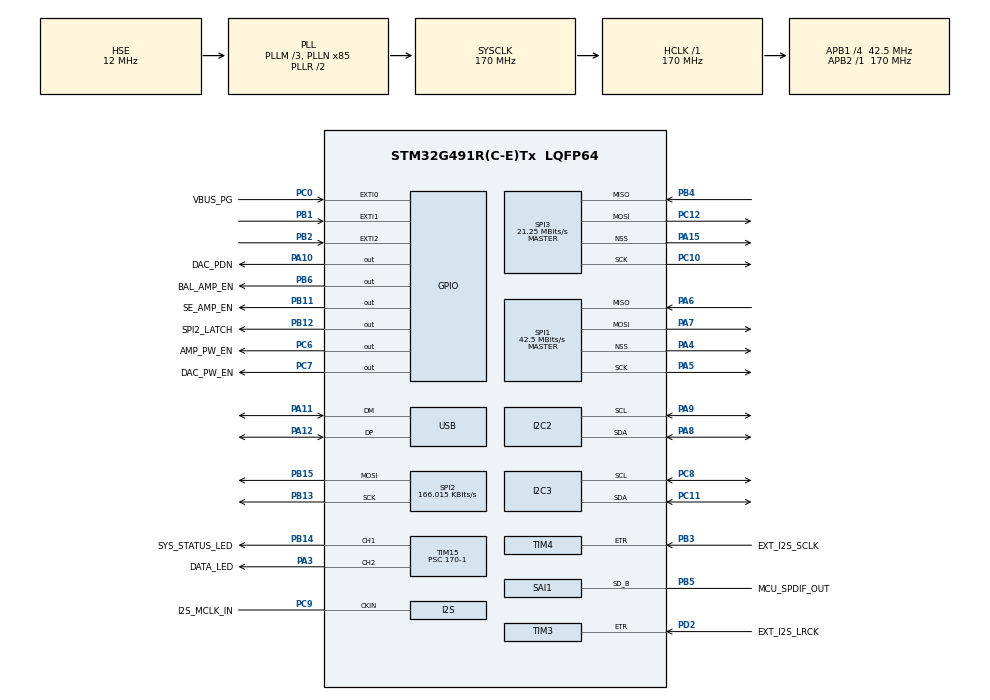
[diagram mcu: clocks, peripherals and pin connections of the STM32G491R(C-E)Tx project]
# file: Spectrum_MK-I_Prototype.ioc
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ADC1.Channel-2\#ChannelRegularConversion=ADC_CHANNEL_TEMPSENSOR_ADC1
ADC1.NbrOfConversionFlag=1
ADC1.OffsetNumber-2\#ChannelRegularConversion=ADC_OFFSET_NONE
ADC1.Rank-2\#ChannelRegularConversion=1
ADC1.SamplingTime-2\#ChannelRegularConversion=ADC_SAMPLETIME_2CYCLES_5
ADC1.master=1
Dma.CORDIC_READ.4.Direction=DMA_PERIPH_TO_MEMORY
Dma.CORDIC_READ.4.EventEnable=DISABLE
Dma.CORDIC_READ.4.Instance=DMA1_Channel3
Dma.CORDIC_READ.4.MemDataAlignment=DMA_MDATAALIGN_WORD
Dma.CORDIC_READ.4.MemInc=DMA_MINC_ENABLE
Dma.CORDIC_READ.4.Mode=DMA_NORMAL
Dma.CORDIC_READ.4.PeriphDataAlignment=DMA_PDATAALIGN_WORD
Dma.CORDIC_READ.4.PeriphInc=DMA_PINC_DISABLE
Dma.CORDIC_READ.4.Polarity=HAL_DMAMUX_REQ_GEN_RISING
Dma.CORDIC_READ.4.Priority=DMA_PRIORITY_LOW
Dma.CORDIC_READ.4.RequestNumber=1
Dma.CORDIC_READ.4.SignalID=NONE
Dma.CORDIC_READ.4.SyncEnable=DISABLE
Dma.CORDIC_READ.4.SyncPolarity=HAL_DMAMUX_SYNC_NO_EVENT
Dma.CORDIC_READ.4.SyncRequestNumber=1
Dma.CORDIC_READ.4.SyncSignalID=NONE
Dma.CORDIC_WRITE.5.Direction=DMA_MEMORY_TO_PERIPH
Dma.CORDIC_WRITE.5.EventEnable=DISABLE
Dma.CORDIC_WRITE.5.Instance=DMA1_Channel4
Dma.CORDIC_WRITE.5.MemDataAlignment=DMA_MDATAALIGN_WORD
Dma.CORDIC_WRITE.5.MemInc=DMA_MINC_ENABLE
Dma.CORDIC_WRITE.5.Mode=DMA_NORMAL
Dma.CORDIC_WRITE.5.PeriphDataAlignment=DMA_PDATAALIGN_WORD
Dma.CORDIC_WRITE.5.PeriphInc=DMA_PINC_DISABLE
Dma.CORDIC_WRITE.5.Polarity=HAL_DMAMUX_REQ_GEN_RISING
Dma.CORDIC_WRITE.5.Priority=DMA_PRIORITY_LOW
Dma.CORDIC_WRITE.5.RequestNumber=1
Dma.CORDIC_WRITE.5.SignalID=NONE
Dma.CORDIC_WRITE.5.SyncEnable=DISABLE
Dma.CORDIC_WRITE.5.SyncPolarity=HAL_DMAMUX_SYNC_NO_EVENT
Dma.CORDIC_WRITE.5.SyncRequestNumber=1
Dma.CORDIC_WRITE.5.SyncSignalID=NONE
Dma.FMAC_READ.6.Direction=DMA_PERIPH_TO_MEMORY
Dma.FMAC_READ.6.EventEnable=DISABLE
Dma.FMAC_READ.6.Instance=DMA1_Channel7
Dma.FMAC_READ.6.MemDataAlignment=DMA_MDATAALIGN_HALFWORD
Dma.FMAC_READ.6.MemInc=DMA_MINC_ENABLE
Dma.FMAC_READ.6.Mode=DMA_NORMAL
Dma.FMAC_READ.6.PeriphDataAlignment=DMA_PDATAALIGN_WORD
Dma.FMAC_READ.6.PeriphInc=DMA_PINC_DISABLE
Dma.FMAC_READ.6.Polarity=HAL_DMAMUX_REQ_GEN_RISING
Dma.FMAC_READ.6.Priority=DMA_PRIORITY_LOW
Dma.FMAC_READ.6.RequestNumber=1
Dma.FMAC_READ.6.SignalID=NONE
Dma.FMAC_READ.6.SyncEnable=DISABLE
Dma.FMAC_READ.6.SyncPolarity=HAL_DMAMUX_SYNC_NO_EVENT
Dma.FMAC_READ.6.SyncRequestNumber=1
Dma.FMAC_READ.6.SyncSignalID=NONE
Dma.FMAC_WRITE.7.Direction=DMA_MEMORY_TO_PERIPH
Dma.FMAC_WRITE.7.EventEnable=DISABLE
Dma.FMAC_WRITE.7.Instance=DMA1_Channel8
Dma.FMAC_WRITE.7.MemDataAlignment=DMA_MDATAALIGN_HALFWORD
Dma.FMAC_WRITE.7.MemInc=DMA_MINC_ENABLE
Dma.FMAC_WRITE.7.Mode=DMA_NORMAL
Dma.FMAC_WRITE.7.PeriphDataAlignment=DMA_PDATAALIGN_WORD
Dma.FMAC_WRITE.7.PeriphInc=DMA_PINC_DISABLE
Dma.FMAC_WRITE.7.Polarity=HAL_DMAMUX_REQ_GEN_RISING
Dma.FMAC_WRITE.7.Priority=DMA_PRIORITY_LOW
Dma.FMAC_WRITE.7.RequestNumber=1
Dma.FMAC_WRITE.7.SignalID=NONE
Dma.FMAC_WRITE.7.SyncEnable=DISABLE
Dma.FMAC_WRITE.7.SyncPolarity=HAL_DMAMUX_SYNC_NO_EVENT
Dma.FMAC_WRITE.7.SyncRequestNumber=1
Dma.FMAC_WRITE.7.SyncSignalID=NONE
Dma.I2C2_RX.9.Direction=DMA_PERIPH_TO_MEMORY
Dma.I2C2_RX.9.EventEnable=DISABLE
Dma.I2C2_RX.9.Instance=DMA1_Channel5
Dma.I2C2_RX.9.MemDataAlignment=DMA_MDATAALIGN_BYTE
Dma.I2C2_RX.9.MemInc=DMA_MINC_ENABLE
Dma.I2C2_RX.9.Mode=DMA_NORMAL
Dma.I2C2_RX.9.PeriphDataAlignment=DMA_PDATAALIGN_BYTE
Dma.I2C2_RX.9.PeriphInc=DMA_PINC_DISABLE
Dma.I2C2_RX.9.Polarity=HAL_DMAMUX_REQ_GEN_RISING
Dma.I2C2_RX.9.Priority=DMA_PRIORITY_LOW
Dma.I2C2_RX.9.RequestNumber=1
Dma.I2C2_RX.9.SignalID=NONE
Dma.I2C2_RX.9.SyncEnable=DISABLE
Dma.I2C2_RX.9.SyncPolarity=HAL_DMAMUX_SYNC_NO_EVENT
Dma.I2C2_RX.9.SyncRequestNumber=1
Dma.I2C2_RX.9.SyncSignalID=NONE
Dma.I2C2_TX.10.Direction=DMA_MEMORY_TO_PERIPH
Dma.I2C2_TX.10.EventEnable=DISABLE
Dma.I2C2_TX.10.Instance=DMA1_Channel6
Dma.I2C2_TX.10.MemDataAlignment=DMA_MDATAALIGN_BYTE
Dma.I2C2_TX.10.MemInc=DMA_MINC_ENABLE
Dma.I2C2_TX.10.Mode=DMA_NORMAL
Dma.I2C2_TX.10.PeriphDataAlignment=DMA_PDATAALIGN_BYTE
Dma.I2C2_TX.10.PeriphInc=DMA_PINC_DISABLE
Dma.I2C2_TX.10.Polarity=HAL_DMAMUX_REQ_GEN_RISING
Dma.I2C2_TX.10.Priority=DMA_PRIORITY_LOW
Dma.I2C2_TX.10.RequestNumber=1
Dma.I2C2_TX.10.SignalID=NONE
Dma.I2C2_TX.10.SyncEnable=DISABLE
Dma.I2C2_TX.10.SyncPolarity=HAL_DMAMUX_SYNC_NO_EVENT
Dma.I2C2_TX.10.SyncRequestNumber=1
Dma.I2C2_TX.10.SyncSignalID=NONE
Dma.Request0=SPI1_TX
Dma.Request1=SPI1_RX
Dma.Request10=I2C2_TX
Dma.Request11=SPI2_TX
Dma.Request2=SPI3_RX
Dma.Request3=SPI3_TX
Dma.Request4=CORDIC_READ
Dma.Request5=CORDIC_WRITE
Dma.Request6=FMAC_READ
Dma.Request7=FMAC_WRITE
Dma.Request8=SAI1_B
Dma.Request9=I2C2_RX
Dma.SAI1_B.8.Direction=DMA_MEMORY_TO_PERIPH
Dma.SAI1_B.8.EventEnable=DISABLE
Dma.SAI1_B.8.Instance=DMA2_Channel1
Dma.SAI1_B.8.MemDataAlignment=DMA_MDATAALIGN_WORD
Dma.SAI1_B.8.MemInc=DMA_MINC_ENABLE
Dma.SAI1_B.8.Mode=DMA_NORMAL
Dma.SAI1_B.8.PeriphDataAlignment=DMA_PDATAALIGN_WORD
Dma.SAI1_B.8.PeriphInc=DMA_PINC_DISABLE
Dma.SAI1_B.8.Polarity=HAL_DMAMUX_REQ_GEN_RISING
Dma.SAI1_B.8.Priority=DMA_PRIORITY_LOW
Dma.SAI1_B.8.RequestNumber=1
Dma.SAI1_B.8.SignalID=NONE
Dma.SAI1_B.8.SyncEnable=DISABLE
Dma.SAI1_B.8.SyncPolarity=HAL_DMAMUX_SYNC_NO_EVENT
Dma.SAI1_B.8.SyncRequestNumber=1
Dma.SAI1_B.8.SyncSignalID=NONE
Dma.SPI1_RX.1.Direction=DMA_PERIPH_TO_MEMORY
Dma.SPI1_RX.1.EventEnable=DISABLE
Dma.SPI1_RX.1.Instance=DMA1_Channel2
Dma.SPI1_RX.1.MemDataAlignment=DMA_MDATAALIGN_BYTE
Dma.SPI1_RX.1.MemInc=DMA_MINC_ENABLE
Dma.SPI1_RX.1.Mode=DMA_NORMAL
Dma.SPI1_RX.1.PeriphDataAlignment=DMA_PDATAALIGN_BYTE
Dma.SPI1_RX.1.PeriphInc=DMA_PINC_DISABLE
Dma.SPI1_RX.1.Polarity=HAL_DMAMUX_REQ_GEN_RISING
Dma.SPI1_RX.1.Priority=DMA_PRIORITY_LOW
Dma.SPI1_RX.1.RequestNumber=1
Dma.SPI1_RX.1.SignalID=NONE
Dma.SPI1_RX.1.SyncEnable=DISABLE
Dma.SPI1_RX.1.SyncPolarity=HAL_DMAMUX_SYNC_NO_EVENT
Dma.SPI1_RX.1.SyncRequestNumber=1
Dma.SPI1_RX.1.SyncSignalID=NONE
Dma.SPI1_TX.0.Direction=DMA_MEMORY_TO_PERIPH
Dma.SPI1_TX.0.EventEnable=DISABLE
Dma.SPI1_TX.0.Instance=DMA1_Channel1
Dma.SPI1_TX.0.MemDataAlignment=DMA_MDATAALIGN_BYTE
Dma.SPI1_TX.0.MemInc=DMA_MINC_ENABLE
Dma.SPI1_TX.0.Mode=DMA_NORMAL
Dma.SPI1_TX.0.PeriphDataAlignment=DMA_PDATAALIGN_BYTE
Dma.SPI1_TX.0.PeriphInc=DMA_PINC_DISABLE
Dma.SPI1_TX.0.Polarity=HAL_DMAMUX_REQ_GEN_RISING
Dma.SPI1_TX.0.Priority=DMA_PRIORITY_LOW
Dma.SPI1_TX.0.RequestNumber=1
Dma.SPI1_TX.0.SignalID=NONE
Dma.SPI1_TX.0.SyncEnable=DISABLE
Dma.SPI1_TX.0.SyncPolarity=HAL_DMAMUX_SYNC_NO_EVENT
Dma.SPI1_TX.0.SyncRequestNumber=1
Dma.SPI1_TX.0.SyncSignalID=NONE
Dma.SPI2_TX.11.Direction=DMA_MEMORY_TO_PERIPH
Dma.SPI2_TX.11.EventEnable=DISABLE
Dma.SPI2_TX.11.Instance=DMA2_Channel2
Dma.SPI2_TX.11.MemDataAlignment=DMA_MDATAALIGN_BYTE
Dma.SPI2_TX.11.MemInc=DMA_MINC_ENABLE
Dma.SPI2_TX.11.Mode=DMA_NORMAL
Dma.SPI2_TX.11.PeriphDataAlignment=DMA_PDATAALIGN_BYTE
Dma.SPI2_TX.11.PeriphInc=DMA_PINC_DISABLE
Dma.SPI2_TX.11.Polarity=HAL_DMAMUX_REQ_GEN_RISING
Dma.SPI2_TX.11.Priority=DMA_PRIORITY_LOW
Dma.SPI2_TX.11.RequestNumber=1
Dma.SPI2_TX.11.SignalID=NONE
Dma.SPI2_TX.11.SyncEnable=DISABLE
Dma.SPI2_TX.11.SyncPolarity=HAL_DMAMUX_SYNC_NO_EVENT
Dma.SPI2_TX.11.SyncRequestNumber=1
Dma.SPI2_TX.11.SyncSignalID=NONE
Dma.SPI3_RX.2.Direction=DMA_PERIPH_TO_MEMORY
Dma.SPI3_RX.2.EventEnable=DISABLE
Dma.SPI3_RX.2.Instance=DMA2_Channel4
Dma.SPI3_RX.2.MemDataAlignment=DMA_MDATAALIGN_BYTE
Dma.SPI3_RX.2.MemInc=DMA_MINC_ENABLE
Dma.SPI3_RX.2.Mode=DMA_NORMAL
Dma.SPI3_RX.2.PeriphDataAlignment=DMA_PDATAALIGN_BYTE
Dma.SPI3_RX.2.PeriphInc=DMA_PINC_DISABLE
Dma.SPI3_RX.2.Polarity=HAL_DMAMUX_REQ_GEN_RISING
Dma.SPI3_RX.2.Priority=DMA_PRIORITY_LOW
Dma.SPI3_RX.2.RequestNumber=1
Dma.SPI3_RX.2.SignalID=NONE
Dma.SPI3_RX.2.SyncEnable=DISABLE
Dma.SPI3_RX.2.SyncPolarity=HAL_DMAMUX_SYNC_NO_EVENT
Dma.SPI3_RX.2.SyncRequestNumber=1
Dma.SPI3_RX.2.SyncSignalID=NONE
Dma.SPI3_TX.3.Direction=DMA_MEMORY_TO_PERIPH
Dma.SPI3_TX.3.EventEnable=DISABLE
Dma.SPI3_TX.3.Instance=DMA2_Channel3
Dma.SPI3_TX.3.MemDataAlignment=DMA_MDATAALIGN_BYTE
Dma.SPI3_TX.3.MemInc=DMA_MINC_ENABLE
Dma.SPI3_TX.3.Mode=DMA_NORMAL
Dma.SPI3_TX.3.PeriphDataAlignment=DMA_PDATAALIGN_BYTE
Dma.SPI3_TX.3.PeriphInc=DMA_PINC_DISABLE
Dma.SPI3_TX.3.Polarity=HAL_DMAMUX_REQ_GEN_RISING
Dma.SPI3_TX.3.Priority=DMA_PRIORITY_LOW
Dma.SPI3_TX.3.RequestNumber=1
Dma.SPI3_TX.3.SignalID=NONE
Dma.SPI3_TX.3.SyncEnable=DISABLE
Dma.SPI3_TX.3.SyncPolarity=HAL_DMAMUX_SYNC_NO_EVENT
Dma.SPI3_TX.3.SyncRequestNumber=1
Dma.SPI3_TX.3.SyncSignalID=NONE
I2C2.I2C_Fall_Time=10
I2C2.Speed=100
I2C2.Timing=0x00E0A5F5
I2C3.Timing=0x00E0B1E5
Mcu.Family=STM32G4
Mcu.Name=STM32G491R(C-E)Tx
Mcu.Package=LQFP64
NVIC.ADC1_2_IRQn=true\:0\:0\:false\:false\:true\:true\:true\:true
NVIC.DMA1_Channel1_IRQn=true\:0\:0\:false\:false\:true\:false\:true\:true
NVIC.DMA1_Channel2_IRQn=true\:0\:0\:false\:false\:true\:false\:true\:true
NVIC.DMA1_Channel3_IRQn=true\:0\:0\:false\:false\:true\:false\:true\:true
NVIC.DMA1_Channel4_IRQn=true\:0\:0\:false\:false\:true\:false\:true\:true
NVIC.DMA1_Channel5_IRQn=true\:0\:0\:false\:false\:true\:false\:true\:true
NVIC.DMA1_Channel6_IRQn=true\:0\:0\:false\:false\:true\:false\:true\:true
NVIC.DMA1_Channel7_IRQn=true\:0\:0\:false\:false\:true\:false\:true\:true
NVIC.DMA1_Channel8_IRQn=true\:0\:0\:false\:false\:true\:false\:true\:true
NVIC.DMA2_Channel1_IRQn=true\:0\:0\:false\:false\:true\:false\:true\:true
NVIC.DMA2_Channel2_IRQn=true\:0\:0\:false\:false\:true\:false\:true\:true
NVIC.DMA2_Channel3_IRQn=true\:0\:0\:false\:false\:true\:false\:true\:true
NVIC.DMA2_Channel4_IRQn=true\:0\:0\:false\:false\:true\:false\:true\:true
NVIC.EXTI0_IRQn=true\:0\:0\:false\:false\:true\:true\:true\:true
NVIC.EXTI1_IRQn=true\:0\:0\:false\:false\:true\:true\:true\:true
NVIC.EXTI2_IRQn=true\:0\:0\:false\:false\:true\:true\:true\:true
NVIC.PriorityGroup=NVIC_PRIORITYGROUP_4
NVIC.SPI1_IRQn=true\:0\:0\:false\:false\:true\:true\:true\:true
NVIC.SPI2_IRQn=true\:0\:0\:false\:false\:true\:true\:true\:true
NVIC.SPI3_IRQn=true\:0\:0\:false\:false\:true\:true\:true\:true
NVIC.TIM1_BRK_TIM15_IRQn=true\:0\:0\:false\:false\:true\:true\:true\:true
NVIC.USB_HP_IRQn=true\:0\:0\:false\:false\:true\:true\:true\:true
NVIC.USB_LP_IRQn=true\:0\:0\:false\:false\:true\:true\:true\:true
PA10.GPIO_Label=DAC_PDN
PA10.GPIO_PuPd=GPIO_PULLDOWN
PA10.Signal=GPIO_Output
PA11.Mode=Device
PA11.Signal=USB_DM
PA12.Mode=Device
PA12.Signal=USB_DP
PA13.Mode=Serial_Wire
PA13.Signal=SYS_JTMS-SWDIO
PA14.Mode=Serial_Wire
PA14.Signal=SYS_JTCK-SWCLK
PA15.GPIO_Speed=GPIO_SPEED_FREQ_VERY_HIGH
PA15.Mode=NSS_Signal_Hard_Output
PA15.Signal=SPI3_NSS
PA3.GPIO_Label=DATA_LED
PA3.Signal=S_TIM15_CH2
PA4.GPIO_Speed=GPIO_SPEED_FREQ_VERY_HIGH
PA4.Mode=NSS_Signal_Hard_Output
PA4.Signal=SPI1_NSS
PA5.GPIO_Speed=GPIO_SPEED_FREQ_VERY_HIGH
PA5.Mode=Full_Duplex_Master
PA5.Signal=SPI1_SCK
PA6.GPIO_Speed=GPIO_SPEED_FREQ_VERY_HIGH
PA6.Mode=Full_Duplex_Master
PA6.Signal=SPI1_MISO
PA7.GPIO_Speed=GPIO_SPEED_FREQ_VERY_HIGH
PA7.Mode=Full_Duplex_Master
PA7.Signal=SPI1_MOSI
PA8.GPIO_Pu=GPIO_PULLUP
PA8.GPIO_Speed=GPIO_SPEED_FREQ_VERY_HIGH
PA8.Mode=I2C
PA8.Signal=I2C2_SDA
PA9.GPIO_Pu=GPIO_PULLUP
PA9.GPIO_Speed=GPIO_SPEED_FREQ_VERY_HIGH
PA9.Mode=I2C
PA9.Signal=I2C2_SCL
PB1.Signal=GPXTI1
PB11.GPIO_Label=SE_AMP_EN
PB11.GPIO_PuPd=GPIO_PULLDOWN
PB11.GPIO_Speed=GPIO_SPEED_FREQ_VERY_HIGH
PB11.Signal=GPIO_Output
PB12.GPIO_Label=SPI2_LATCH
PB12.GPIO_PuPd=GPIO_PULLUP
PB12.GPIO_Speed=GPIO_SPEED_FREQ_VERY_HIGH
PB12.Signal=GPIO_Output
PB13.GPIO_PuPd=GPIO_PULLUP
PB13.GPIO_Speed=GPIO_SPEED_FREQ_VERY_HIGH
PB13.Mode=TX_Only_Simplex_Unidirect_Master
PB13.Signal=SPI2_SCK
PB14.GPIO_Label=SYS_STATUS_LED
PB14.Signal=S_TIM15_CH1
PB15.GPIO_Speed=GPIO_SPEED_FREQ_VERY_HIGH
PB15.Mode=TX_Only_Simplex_Unidirect_Master
PB15.Signal=SPI2_MOSI
PB2.GPIO_ModeDefaultEXTI=GPIO_MODE_IT_RISING_FALLING
PB2.Signal=GPXTI2
PB3.GPIO_Label=EXT_I2S_SCLK
PB3.Signal=S_TIM4_ETR
PB4.GPIO_Speed=GPIO_SPEED_FREQ_VERY_HIGH
PB4.Mode=Full_Duplex_Master
PB4.Signal=SPI3_MISO
PB5.GPIO_Label=MCU_SPDIF_OUT
PB5.GPIO_Speed=GPIO_SPEED_FREQ_VERY_HIGH
PB5.Mode=SAI_B_SPDIF
PB5.Signal=SAI1_SD_B
PB6.GPIO_Label=BAL_AMP_EN
PB6.GPIO_PuPd=GPIO_PULLDOWN
PB6.GPIO_Speed=GPIO_SPEED_FREQ_VERY_HIGH
PB6.Signal=GPIO_Output
PB7.Mode=Mode_PVD_Ext
PB7.Signal=SYS_PVD_IN
PC0.GPIO_Label=VBUS_PG
PC0.GPIO_ModeDefaultEXTI=GPIO_MODE_IT_RISING
PC0.GPIO_PuPd=GPIO_PULLUP
PC0.Signal=GPXTI0
PC10.GPIO_Speed=GPIO_SPEED_FREQ_VERY_HIGH
PC10.Mode=Full_Duplex_Master
PC10.Signal=SPI3_SCK
PC11.GPIO_Pu=GPIO_PULLUP
PC11.GPIO_Speed=GPIO_SPEED_FREQ_VERY_HIGH
PC11.Mode=I2C
PC11.Signal=I2C3_SDA
PC12.GPIO_Speed=GPIO_SPEED_FREQ_VERY_HIGH
PC12.Mode=Full_Duplex_Master
PC12.Signal=SPI3_MOSI
PC13.Mode=SYS_WakeUp1
PC13.Signal=SYS_WKUP2
PC6.GPIO_Label=AMP_PW_EN
PC6.GPIO_PuPd=GPIO_PULLDOWN
PC6.Signal=GPIO_Output
PC7.GPIO_Label=DAC_PW_EN
PC7.GPIO_PuPd=GPIO_PULLDOWN
PC7.Signal=GPIO_Output
PC8.GPIO_Pu=GPIO_PULLUP
PC8.GPIO_Speed=GPIO_SPEED_FREQ_VERY_HIGH
PC8.Mode=I2C
PC8.Signal=I2C3_SCL
PC9.GPIO_Label=I2S_MCLK_IN
PC9.Mode=Audio_ClockIn
PC9.Signal=I2S_CKIN
PD2.GPIO_Label=EXT_I2S_LRCK
PD2.Signal=S_TIM3_ETR
PF0-OSC_IN.Mode=HSE-External-Oscillator
PF0-OSC_IN.Signal=RCC_OSC_IN
PF1-OSC_OUT.Mode=HSE-External-Oscillator
PF1-OSC_OUT.Signal=RCC_OSC_OUT
ProjectManager.HeapSize=0x2000
ProjectManager.StackSize=0x4000
ProjectManager.TargetToolchain=Makefile
RCC.ADC12Freq_Value=170000000
RCC.ADC345Freq_Value=170000000
RCC.AHBFreq_Value=170000000
RCC.APB1CLKDivider=RCC_HCLK_DIV4
RCC.APB1Freq_Value=42500000
RCC.APB1TimFreq_Value=85000000
RCC.APB2Freq_Value=170000000
RCC.APB2TimFreq_Value=170000000
RCC.CortexFreq_Value=170000000
RCC.EXTERNAL_CLOCK_VALUE=12288000
RCC.HCLKFreq_Value=170000000
RCC.HSE_VALUE=12000000
RCC.HSI48_VALUE=48000000
RCC.HSI_VALUE=16000000
RCC.LSE_VALUE=32768
RCC.PLLM=RCC_PLLM_DIV3
RCC.PLLN=85
RCC.PLLSourceVirtual=RCC_PLLSOURCE_HSE
RCC.SAI1CLockSelection=RCC_SAI1CLKSOURCE_EXT
RCC.SYSCLKFreq_VALUE=170000000
RCC.SYSCLKSource=RCC_SYSCLKSOURCE_PLLCLK
RCC.USART1CLockSelection=RCC_USART1CLKSOURCE_SYSCLK
RCC.USBFreq_Value=48000000
RCC.VCOOutputFreq_Value=340000000
SAI1.AudioFrequency-SAI_B_SPDIF=SAI_AUDIO_FREQUENCY_96K
SAI1.Instance-SAI_B_SPDIF=SAI$Index_Block_B
SAI1.OutputDrive-SAI_B_SPDIF=SAI_OUTPUTDRIVE_DISABLE
SAI1.VirtualMode-SAI_B_SPDIF=VM_SPDIF
SH.S_TIM15_CH1.0=TIM15_CH1,PWM Generation1 CH1
SH.S_TIM15_CH2.0=TIM15_CH2,PWM Generation2 CH2
SH.S_TIM3_ETR.0=TIM3_ETR,ClockSourceETR_Mode2
SH.S_TIM4_ETR.0=TIM4_ETR,ClockSourceETR_Mode2
SPI1.BaudRatePrescaler=SPI_BAUDRATEPRESCALER_4
SPI1.CLKPhase=SPI_PHASE_1EDGE
SPI1.CLKPolarity=SPI_POLARITY_LOW
SPI1.CRCCalculation=SPI_CRCCALCULATION_ENABLE
SPI1.CalculateBaudRate=42.5 MBits/s
SPI1.DataSize=SPI_DATASIZE_8BIT
SPI1.Direction=SPI_DIRECTION_2LINES
SPI1.Mode=SPI_MODE_MASTER
SPI1.VirtualNSS=VM_NSSHARD
SPI1.VirtualType=VM_MASTER
SPI2.BaudRatePrescaler=SPI_BAUDRATEPRESCALER_256
SPI2.CLKPhase=SPI_PHASE_1EDGE
SPI2.CLKPolarity=SPI_POLARITY_HIGH
SPI2.CalculateBaudRate=166.015 KBits/s
SPI2.DataSize=SPI_DATASIZE_8BIT
SPI2.Direction=SPI_DIRECTION_2LINES
SPI2.Mode=SPI_MODE_MASTER
SPI2.VirtualType=VM_MASTER
SPI3.BaudRatePrescaler=SPI_BAUDRATEPRESCALER_2
SPI3.CalculateBaudRate=21.25 MBits/s
SPI3.Direction=SPI_DIRECTION_2LINES
SPI3.Mode=SPI_MODE_MASTER
SPI3.VirtualNSS=VM_NSSHARD
SPI3.VirtualType=VM_MASTER
SYS.Mode=PWR_PVD_MODE_EVENT_RISING_FALLING
TIM15.AutoReloadPreload=TIM_AUTORELOAD_PRELOAD_ENABLE
TIM15.Channel-PWM\ Generation1\ CH1=TIM_CHANNEL_1
TIM15.Channel-PWM\ Generation2\ CH2=TIM_CHANNEL_2
TIM15.PeriodNoDither=1000-1
TIM15.Prescaler=170-1
TIM3.PeriodNoDither=0xffff
TIM4.PeriodNoDither=0xffff
VP_ADC1_TempSens_Input.Mode=IN-TempSens
VP_ADC1_Vbat_Input.Mode=IN-Vbat
VP_ADC1_Vref_Input.Mode=IN-Vrefint
VP_CORDIC_VS_CORDIC.Mode=CORDIC_Activate
VP_CRC_VS_CRC.Mode=CRC_Activate
VP_FATFS_VS_Generic.Mode=User_defined
VP_FMAC_VS_FMAC.Mode=FMAC_Activate
VP_RNG_VS_RNG.Mode=RNG_Activate
VP_RTC_VS_RTC_Activate.Mode=RTC_Enabled
VP_RTC_VS_RTC_Calendar.Mode=RTC_Calendar
VP_SYS_VS_DBSignals.Mode=DisableDeadBatterySignals
VP_SYS_V_VREFBUF.Mode=ExternalMode
VP_TIM15_VS_ClockSourceINT.Mode=Internal
board=custom

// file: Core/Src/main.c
/* USER CODE BEGIN Header */
/**
  ******************************************************************************
  * @file           : main.c
  * @brief          : Main program body
  ******************************************************************************
  * @attention
  *
  * Copyright (c) 2025 STMicroelectronics.
  * All rights reserved.
  *
  * This software is licensed under terms that can be found in the LICENSE file
  * in the root directory of this software component.
  * If no LICENSE file comes with this software, it is provided AS-IS.
  *
  ******************************************************************************
  */
/* USER CODE END Header */
#include "main.h"
#include "adc.h"
#include "cordic.h"
#include "crc.h"
#include "dma.h"
#include "app_fatfs.h"
#include "fmac.h"
#include "i2c.h"
#include "rng.h"
#include "rtc.h"
#include "sai.h"
#include "spi.h"
#include "tim.h"
#include "usb.h"
#include "gpio.h"

/* USER CODE BEGIN Includes */
#include <stdio.h>
#include "cdc_acm_ringbuffer.h"
#include "Segger_RTT.h"
#include "shell.h"
#include "shell_port.h"

/* Application Modules */
#include "power_manager.h"
#include "audio_manager.h"
#include "system_status.h"
#include "system_protection.h"

/* USER CODE END Includes */

/* USER CODE BEGIN PD */
#define u_busid 0
/* USER CODE END PD */

void SystemClock_Config(void);

/* USER CODE BEGIN 0 */

/**
  * @brief RTT Log (Retargets the C library printf function to the Segger RTT)
  */
#if defined(__CC_ARM)      // Keil
int fputc(int ch, FILE *f)
{
  SEGGER_RTT_Write(0, (const char *)&ch, 1);
  return ch;
}
#elif defined(__GNUC__)   // GCC
int _write(int fd, char *ptr, int len)
{
  SEGGER_RTT_Write(0, ptr, len);
  return len;
  // HAL_Delay();
}
#endif

/* USER CODE END 0 */

int main(void)
{

  /* MCU Configuration--------------------------------------------------------*/

  /* Reset of all peripherals, Initializes the Flash interface and the Systick. */
  HAL_Init();

  /* Configure the system clock */
  SystemClock_Config();

  /* USER CODE BEGIN SysInit */
  SEGGER_RTT_Init();
  /* USER CODE END SysInit */

  /* Initialize all configured peripherals */
  MX_GPIO_Init();
  MX_DMA_Init();
  MX_CORDIC_Init();
  MX_CRC_Init();
  MX_RNG_Init();
  MX_RTC_Init();
  MX_SPI1_Init();
  MX_TIM3_Init();
  MX_TIM4_Init();
  MX_TIM15_Init();
  MX_ADC1_Init();
  MX_SAI1_Init();
  MX_I2C2_Init();
  MX_SPI3_Init();
  MX_FMAC_Init();
  MX_SPI2_Init();
  MX_I2C3_Init();
  if (MX_FATFS_Init() != APP_OK) {
    Error_Handler();
  }
  /* USER CODE BEGIN 2 */
  HAL_Delay(1000);

  /* Initialize System Status (LEDs) */
  System_Status_Init();

  /* Initialize Power Management System */
  Power_Init();

  /* Reset AMP Enable Pins */
  HAL_GPIO_WritePin(SE_AMP_EN_GPIO_Port, SE_AMP_EN_Pin, GPIO_PIN_RESET);
  HAL_GPIO_WritePin(BAL_AMP_EN_GPIO_Port, BAL_AMP_EN_Pin, GPIO_PIN_RESET);

  /* Initialize USB CDC & Shell */
  cdc_acm_init(u_busid, USB_BASE);
  userShellInit();

  /* Initialize Audio System */
  Audio_Init();

  /* USER CODE END 2 */

  /* Infinite loop */
  /* USER CODE BEGIN WHILE */
  while (1)
  {
    /* Process System Status (LED Breathing) */
    System_Status_Process();

    /* Process Audio Tasks (Initialization retry, state machine) */
    Audio_Task();

    /* USER CODE END WHILE */

  }
}

void SystemClock_Config(void)
{
  RCC_OscInitTypeDef RCC_OscInitStruct = {0};
  RCC_ClkInitTypeDef RCC_ClkInitStruct = {0};

  /** Configure the main internal regulator output voltage
  */
  HAL_PWREx_ControlVoltageScaling(PWR_REGULATOR_VOLTAGE_SCALE1_BOOST);

  /** Initializes the RCC Oscillators according to the specified parameters
  * in the RCC_OscInitTypeDef structure.
  */
  RCC_OscInitStruct.OscillatorType = RCC_OSCILLATORTYPE_HSI48|RCC_OSCILLATORTYPE_LSI
                              |RCC_OSCILLATORTYPE_HSE;
  RCC_OscInitStruct.HSEState = RCC_HSE_ON;
  RCC_OscInitStruct.LSIState = RCC_LSI_ON;
  RCC_OscInitStruct.HSI48State = RCC_HSI48_ON;
  RCC_OscInitStruct.PLL.PLLState = RCC_PLL_ON;
  RCC_OscInitStruct.PLL.PLLSource = RCC_PLLSOURCE_HSE;
  RCC_OscInitStruct.PLL.PLLM = RCC_PLLM_DIV3;
  RCC_OscInitStruct.PLL.PLLN = 85;
  RCC_OscInitStruct.PLL.PLLP = RCC_PLLP_DIV2;
  RCC_OscInitStruct.PLL.PLLQ = RCC_PLLQ_DIV2;
  RCC_OscInitStruct.PLL.PLLR = RCC_PLLR_DIV2;
  if (HAL_RCC_OscConfig(&RCC_OscInitStruct) != HAL_OK)
  {
    Error_Handler();
  }

  /** Initializes the CPU, AHB and APB buses clocks
  */
  RCC_ClkInitStruct.ClockType = RCC_CLOCKTYPE_HCLK|RCC_CLOCKTYPE_SYSCLK
                              |RCC_CLOCKTYPE_PCLK1|RCC_CLOCKTYPE_PCLK2;
  RCC_ClkInitStruct.SYSCLKSource = RCC_SYSCLKSOURCE_PLLCLK;
  RCC_ClkInitStruct.AHBCLKDivider = RCC_SYSCLK_DIV1;
  RCC_ClkInitStruct.APB1CLKDivider = RCC_HCLK_DIV4;
  RCC_ClkInitStruct.APB2CLKDivider = RCC_HCLK_DIV1;

  if (HAL_RCC_ClockConfig(&RCC_ClkInitStruct, FLASH_LATENCY_4) != HAL_OK)
  {
    Error_Handler();
  }
}

/* USER CODE BEGIN 4 */
/* Note: EXTI callbacks and SPI callbacks have been moved to Application/Core/app_hooks.c */
/* USER CODE END 4 */

void Error_Handler(void)
{
  __disable_irq();
  while (1)
  {
  }
}
